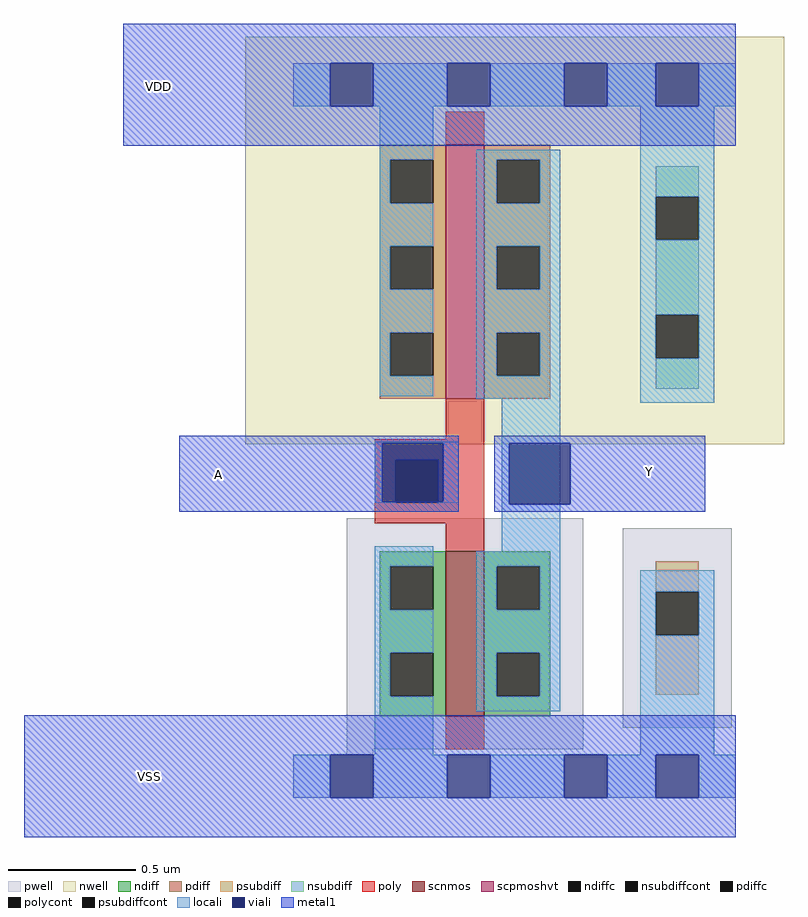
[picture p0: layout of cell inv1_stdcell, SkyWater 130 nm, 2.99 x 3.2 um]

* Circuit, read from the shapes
.subckt inv1_stdcell A VDD VSS Y
XM1 Y A VSS VSS sky130_fd_pr__nfet_01v8 w=0.65 l=0.15
XM2 Y A VDD VDD sky130_fd_pr__pfet_01v8_hvt w=1 l=0.15
.ends

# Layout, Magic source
magic
tech sky130A
<< viali >>
rect 232 -28 256 -5
rect 282 -29 306 -5
<< metal1 >>
rect 130 112 201 160
rect 152 -5 262 -2
rect 152 -28 232 -5
rect 256 -28 262 -5
rect 152 -32 262 -28
rect 276 -5 359 -2
rect 276 -29 282 -5
rect 306 -29 359 -5
rect 276 -32 359 -29
rect 91 -160 203 -112
use sky130_fd_sc_hd__tapvpwrvgnd_1  sky130_fd_sc_hd__tapvpwrvgnd_1_0
transform 1 0 325 0 1 -136
box -19 -24 65 296
use sky130_fd_sc_hd__inv_1  sky130_fd_sc_hd__inv_1_0
transform 1 0 197 0 1 -136
box -19 -24 157 296
<< labels >>
flabel metal1 143 135 145 136 1 FreeSans 240 0 0 0 VDD
flabel metal1 139 -137 142 -135 1 FreeSans 240 0 0 0 VSS
flabel metal1 166 -19 169 -16 1 FreeSans 240 0 0 0 A
flabel metal1 336 -17 338 -15 1 FreeSans 240 0 0 0 Y
<< end >>

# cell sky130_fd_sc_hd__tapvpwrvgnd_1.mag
magic
tech sky130A
magscale 1 2
<< nwell >>
rect -38 261 130 582
<< pwell >>
rect 3 38 89 195
<< psubdiff >>
rect 29 145 63 169
rect 29 64 63 111
<< nsubdiff >>
rect 29 456 63 480
rect 29 363 63 422
rect 29 305 63 329
<< psubdiffcont >>
rect 29 111 63 145
<< nsubdiffcont >>
rect 29 422 63 456
rect 29 329 63 363
<< locali >>
rect 0 527 29 561
rect 63 527 92 561
rect 17 456 75 527
rect 17 422 29 456
rect 63 422 75 456
rect 17 363 75 422
rect 17 329 29 363
rect 63 329 75 363
rect 17 294 75 329
rect 17 145 75 162
rect 17 111 29 145
rect 63 111 75 145
rect 17 17 75 111
rect 0 -17 29 17
rect 63 -17 92 17
<< viali >>
rect 29 527 63 561
rect 29 -17 63 17
<< metal1 >>
rect 0 561 92 592
rect 0 527 29 561
rect 63 527 92 561
rect 0 496 92 527
rect 0 17 92 48
rect 0 -17 29 17
rect 63 -17 92 17
rect 0 -48 92 -17
<< labels >>
flabel metal1 s 22 524 75 553 0 FreeSans 200 0 0 0 VPWR
port 2 nsew power bidirectional abutment
flabel metal1 s 21 -18 72 20 0 FreeSans 200 0 0 0 VGND
port 1 nsew ground bidirectional abutment
rlabel comment s 0 0 0 0 4 tapvpwrvgnd_1
<< properties >>
string LEFsite unithd
string LEFclass CORE WELLTAP
string FIXED_BBOX 0 0 92 544
string GDS_FILE $PDKPATH/libs.ref/sky130_fd_sc_hd/gds/sky130_fd_sc_hd.gds
string LEFsymmetry X Y R90
string GDS_END 65542
string GDS_START 63922
string MASKHINTS_PSDM 0 38 92 196
string MASKHINTS_NSDM 0 280 92 506
<< end >>

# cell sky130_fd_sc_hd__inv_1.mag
magic
tech sky130A
magscale 1 2
<< nwell >>
rect -38 261 314 582
<< pwell >>
rect 42 21 228 203
rect 42 17 63 21
rect 29 -17 63 17
<< scnmos >>
rect 120 47 150 177
<< scpmoshvt >>
rect 120 297 150 497
<< ndiff >>
rect 68 165 120 177
rect 68 131 76 165
rect 110 131 120 165
rect 68 97 120 131
rect 68 63 76 97
rect 110 63 120 97
rect 68 47 120 63
rect 150 165 202 177
rect 150 131 160 165
rect 194 131 202 165
rect 150 97 202 131
rect 150 63 160 97
rect 194 63 202 97
rect 150 47 202 63
<< pdiff >>
rect 68 485 120 497
rect 68 451 76 485
rect 110 451 120 485
rect 68 417 120 451
rect 68 383 76 417
rect 110 383 120 417
rect 68 349 120 383
rect 68 315 76 349
rect 110 315 120 349
rect 68 297 120 315
rect 150 485 202 497
rect 150 451 160 485
rect 194 451 202 485
rect 150 417 202 451
rect 150 383 160 417
rect 194 383 202 417
rect 150 349 202 383
rect 150 315 160 349
rect 194 315 202 349
rect 150 297 202 315
<< ndiffc >>
rect 76 131 110 165
rect 76 63 110 97
rect 160 131 194 165
rect 160 63 194 97
<< pdiffc >>
rect 76 451 110 485
rect 76 383 110 417
rect 76 315 110 349
rect 160 451 194 485
rect 160 383 194 417
rect 160 315 194 349
<< poly >>
rect 120 497 150 523
rect 120 265 150 297
rect 64 249 150 265
rect 64 215 80 249
rect 114 215 150 249
rect 64 199 150 215
rect 120 177 150 199
rect 120 21 150 47
<< polycont >>
rect 80 215 114 249
<< locali >>
rect 0 527 29 561
rect 63 527 121 561
rect 155 527 213 561
rect 247 527 276 561
rect 68 485 110 527
rect 68 451 76 485
rect 68 417 110 451
rect 68 383 76 417
rect 68 349 110 383
rect 68 315 76 349
rect 68 299 110 315
rect 144 485 210 493
rect 144 451 160 485
rect 194 451 210 485
rect 144 417 210 451
rect 144 383 160 417
rect 194 383 210 417
rect 144 349 210 383
rect 144 315 160 349
rect 194 315 210 349
rect 144 297 210 315
rect 64 249 130 263
rect 64 215 80 249
rect 114 215 130 249
rect 64 165 110 181
rect 164 177 210 297
rect 64 131 76 165
rect 64 97 110 131
rect 64 63 76 97
rect 64 17 110 63
rect 144 165 210 177
rect 144 131 160 165
rect 194 131 210 165
rect 144 97 210 131
rect 144 63 160 97
rect 194 63 210 97
rect 144 51 210 63
rect 0 -17 29 17
rect 63 -17 121 17
rect 155 -17 213 17
rect 247 -17 276 17
<< viali >>
rect 29 527 63 561
rect 121 527 155 561
rect 213 527 247 561
rect 29 -17 63 17
rect 121 -17 155 17
rect 213 -17 247 17
<< metal1 >>
rect 0 561 276 592
rect 0 527 29 561
rect 63 527 121 561
rect 155 527 213 561
rect 247 527 276 561
rect 0 496 276 527
rect 0 17 276 48
rect 0 -17 29 17
rect 63 -17 121 17
rect 155 -17 213 17
rect 247 -17 276 17
rect 0 -48 276 -17
<< labels >>
flabel locali s 164 289 198 323 0 FreeSans 340 0 0 0 Y
port 6 nsew signal output
flabel locali s 164 221 198 255 0 FreeSans 340 0 0 0 Y
port 6 nsew signal output
flabel locali s 72 221 106 255 0 FreeSans 340 0 0 0 A
port 1 nsew signal input
flabel nwell s 29 527 63 561 0 FreeSans 200 0 0 0 VPB
port 4 nsew power bidirectional
flabel pwell s 29 -17 63 17 0 FreeSans 200 0 0 0 VNB
port 3 nsew ground bidirectional
flabel metal1 s 29 -17 63 17 0 FreeSans 200 0 0 0 VGND
port 2 nsew ground bidirectional abutment
flabel metal1 s 29 527 63 561 0 FreeSans 200 0 0 0 VPWR
port 5 nsew power bidirectional abutment
rlabel comment s 0 0 0 0 4 inv_1
<< properties >>
string LEFclass CORE
string LEFsite unithd
string FIXED_BBOX 0 0 276 544
string GDS_FILE $PDKPATH/libs.ref/sky130_fd_sc_hd/gds/sky130_fd_sc_hd.gds
string GDS_START 23678
string GDS_END 27172
string LEFsymmetry X Y R90
string path 0.000 0.000 1.380 0.000 
<< end >>
